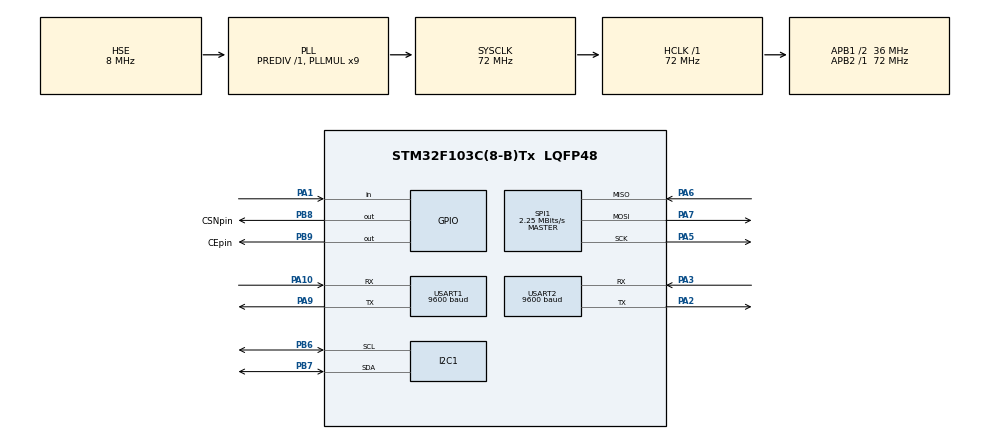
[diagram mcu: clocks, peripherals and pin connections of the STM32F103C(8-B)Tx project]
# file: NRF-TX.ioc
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Dma.Request0=USART2_RX
Dma.Request1=USART1_RX
Dma.USART1_RX.1.Direction=DMA_PERIPH_TO_MEMORY
Dma.USART1_RX.1.Instance=DMA1_Channel5
Dma.USART1_RX.1.MemDataAlignment=DMA_MDATAALIGN_BYTE
Dma.USART1_RX.1.MemInc=DMA_MINC_ENABLE
Dma.USART1_RX.1.Mode=DMA_CIRCULAR
Dma.USART1_RX.1.PeriphDataAlignment=DMA_PDATAALIGN_BYTE
Dma.USART1_RX.1.PeriphInc=DMA_PINC_DISABLE
Dma.USART1_RX.1.Priority=DMA_PRIORITY_LOW
Dma.USART2_RX.0.Direction=DMA_PERIPH_TO_MEMORY
Dma.USART2_RX.0.Instance=DMA1_Channel6
Dma.USART2_RX.0.MemDataAlignment=DMA_MDATAALIGN_BYTE
Dma.USART2_RX.0.MemInc=DMA_MINC_ENABLE
Dma.USART2_RX.0.Mode=DMA_CIRCULAR
Dma.USART2_RX.0.PeriphDataAlignment=DMA_PDATAALIGN_BYTE
Dma.USART2_RX.0.PeriphInc=DMA_PINC_DISABLE
Dma.USART2_RX.0.Priority=DMA_PRIORITY_LOW
Mcu.Family=STM32F1
Mcu.Name=STM32F103C(8-B)Tx
Mcu.Package=LQFP48
NVIC.DMA1_Channel5_IRQn=true\:0\:0\:false\:false\:true\:false\:true
NVIC.DMA1_Channel6_IRQn=true\:0\:0\:false\:false\:true\:false\:true
NVIC.PriorityGroup=NVIC_PRIORITYGROUP_4
PA1.Signal=GPIO_Input
PA10.Mode=Asynchronous
PA10.Signal=USART1_RX
PA13.Mode=Serial_Wire
PA13.Signal=SYS_JTMS-SWDIO
PA14.Mode=Serial_Wire
PA14.Signal=SYS_JTCK-SWCLK
PA2.Mode=Asynchronous
PA2.Signal=USART2_TX
PA3.Mode=Asynchronous
PA3.Signal=USART2_RX
PA5.Mode=Full_Duplex_Master
PA5.Signal=SPI1_SCK
PA6.Mode=Full_Duplex_Master
PA6.Signal=SPI1_MISO
PA7.Mode=Full_Duplex_Master
PA7.Signal=SPI1_MOSI
PA9.Mode=Asynchronous
PA9.Signal=USART1_TX
PB6.Mode=I2C
PB6.Signal=I2C1_SCL
PB7.Mode=I2C
PB7.Signal=I2C1_SDA
PB8.GPIO_Label=CSNpin
PB8.Signal=GPIO_Output
PB9.GPIO_Label=CEpin
PB9.Signal=GPIO_Output
PD0-OSC_IN.Mode=HSE-External-Oscillator
PD0-OSC_IN.Signal=RCC_OSC_IN
PD1-OSC_OUT.Mode=HSE-External-Oscillator
PD1-OSC_OUT.Signal=RCC_OSC_OUT
ProjectManager.HeapSize=0x200
ProjectManager.StackSize=0x400
ProjectManager.TargetToolchain=MDK-ARM V5.27
RCC.AHBFreq_Value=72000000
RCC.APB1CLKDivider=RCC_HCLK_DIV2
RCC.APB1Freq_Value=36000000
RCC.APB1TimFreq_Value=72000000
RCC.APB2Freq_Value=72000000
RCC.APB2TimFreq_Value=72000000
RCC.HCLKFreq_Value=72000000
RCC.PLLMUL=RCC_PLL_MUL9
RCC.PLLSourceVirtual=RCC_PLLSOURCE_HSE
RCC.SYSCLKFreq_VALUE=72000000
RCC.SYSCLKSource=RCC_SYSCLKSOURCE_PLLCLK
RCC.USBFreq_Value=72000000
SPI1.BaudRatePrescaler=SPI_BAUDRATEPRESCALER_32
SPI1.CalculateBaudRate=2.25 MBits/s
SPI1.Direction=SPI_DIRECTION_2LINES
SPI1.Mode=SPI_MODE_MASTER
SPI1.VirtualType=VM_MASTER
USART1.BaudRate=9600
USART1.VirtualMode=VM_ASYNC
USART2.BaudRate=9600
USART2.VirtualMode=VM_ASYNC
board=custom

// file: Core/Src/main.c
/* USER CODE BEGIN Header */
/**
  ******************************************************************************
  * @file           : main.c
  * @brief          : Main program body
  ******************************************************************************
  * @attention
  *
  * <h2><center>&copy; Copyright (c) 2021 STMicroelectronics.
  * All rights reserved.</center></h2>
  *
  * This software component is licensed by ST under BSD 3-Clause license,
  * the "License"; You may not use this file except in compliance with the
  * License. You may obtain a copy of the License at:
  *                        opensource.org/licenses/BSD-3-Clause
  *
  ******************************************************************************
  */
/* USER CODE END Header */
#include "main.h"

/* USER CODE BEGIN Includes */
#include "MY_NRF24.h"
#include "stdio.h"
#include <string.h>
#include <stdlib.h>
#include <math.h>

/* USER CODE END Includes */

I2C_HandleTypeDef hi2c1;

SPI_HandleTypeDef hspi1;

UART_HandleTypeDef huart1;
UART_HandleTypeDef huart2;
DMA_HandleTypeDef hdma_usart1_rx;
DMA_HandleTypeDef hdma_usart2_rx;

void SystemClock_Config(void);
static void MX_GPIO_Init(void);
static void MX_DMA_Init(void);
static void MX_SPI1_Init(void);
static void MX_USART2_UART_Init(void);
static void MX_I2C1_Init(void);
static void MX_USART1_UART_Init(void);
/* USER CODE BEGIN PFP */
#define Min_To_Degree  0.01666666667
#define Sec_To_Degree	 0.000277777778
/* USER CODE END PFP */

/* USER CODE BEGIN 0 */
uint64_t TxpipeAddrs = 0x11223344AA;
char myTxData[250];
char AckPayload[32];
char DATA_arduinotostm[200];
char Rx_Data[750];
char Tx1data[750];
char Tx2data[200];
char GPS_Payyload[200];
char GPS_Payyload1[100];
char DRONE_Payyload[30];
char GPS_Tx[32];
char GPS_Tx2[32];

uint8_t Flag=0;
char *ptr;
char *ptr2;

float time, Latitude=0.0, Longitude=0.0;
float time1, Latitude1=0.0, Longitude1=0.0;
float time_n, Latitude_n, Longitude_n;
char time_char[10];
char Latidude_char[10];
char Longitude_char[10];
float anglepitch;
float angleroll;
float temperature;
int throttle;
int escmotor1;
int escmotor2;
int escmotor3;
int escmotor4;
int rx1;
int rx2;
int rx3;
int rx4;
int volt;
char send[32]="luong cao thuan";
int flag=0;
int fixflag;
int satelite;
float meanofsea;
float meanofsea1;
float roundmeofse;
char meanofs[4];

int Hour, Min, Sec;
void HAL_UART_RxCpltCallback(UART_HandleTypeDef *huart)
{
UNUSED(huart);
	if(huart->Instance==USART1)
	{

		 for(int i = 0; i < 750; i++){
				Tx1data[i]=Rx_Data[i];
																}
		ptr=strstr(Tx1data, "GPRMC");
			 for(int i = 0; i < 200; i++){
				GPS_Payyload[i]=*(ptr+i);
																}
			sscanf(GPS_Payyload, "GPRMC,%f, A,%f, N,%f,",&time,&Latitude,&Longitude);
		sscanf(&GPS_Payyload[103], "GPGGA,%f,%f,N,%f,E,%d,%d,%f,%f,",&time1,&Latitude1,&Longitude1,&fixflag,&satelite,&meanofsea1,&meanofsea);

								roundmeofse= roundf(meanofsea * 10) / 10;

							time=time+70000;

					Latitude=Latitude/100;
					Longitude=Longitude/100;
					Latitude_n=(int)(	Latitude)+((int)(Latitude*100)-((int)(Latitude))*100)/60.0 +(Latitude*100.0 -(int)(Latitude*100))/60.0 ;
					Longitude_n=(int)(Longitude)+((int)(Longitude*100)-((int)(Longitude))*100)/60.0 +(Longitude*100.0 -(int)(Longitude*100))/60.0 ;
			//
		sprintf(meanofs,"%f",roundmeofse);

					sprintf(GPS_Tx,"%c %f %f %u ",'G',Longitude_n, Latitude_n, satelite);
						GPS_Tx[31]=' ';
						sprintf(GPS_Tx2,"%f %f ",roundmeofse,time);
						if(Latitude==0 | Longitude==0)
							strcpy(GPS_Tx,"G 106.659278 10.772611");
					//	}
	}
	if(huart->Instance==USART2)
	{
		 for(int i = 0; i < 200; i++){
				Tx2data[i]=DATA_arduinotostm[i];
																}
		 ptr2=strstr(Tx2data,"D");
			for(int i=0;i<29;i++){
				DRONE_Payyload[i]=*(ptr2+i);
			}

			DRONE_Payyload[29]='\n';
		//sscanf(DRONE_Payyload, "DATA %f %f %f %u %u %u %u %u %u %u %u %u %u",&anglepitch,&angleroll,&temperature,&throttle,&escmotor1,&escmotor2,&escmotor3,&escmotor4,&rx1, &rx2,&rx3,&rx4,&volt);

	}

}

/* USER CODE END 0 */

int main(void)
{

  /* MCU Configuration--------------------------------------------------------*/

  /* Reset of all peripherals, Initializes the Flash interface and the Systick. */
  HAL_Init();

  /* Configure the system clock */
  SystemClock_Config();

  /* Initialize all configured peripherals */
  MX_GPIO_Init();
  MX_DMA_Init();
  MX_SPI1_Init();
  MX_USART2_UART_Init();
  MX_I2C1_Init();
  MX_USART1_UART_Init();
  /* USER CODE BEGIN 2 */
	NRF24_begin(GPIOB, CSNpin_Pin, GPIO_PIN_9, hspi1);
	//NRF24_begin(GPIOB, CSNpin_Pin, CEpin_Pin, hspi1);
	nrf24_DebugUART_Init(huart2);

	printRadioSettings();//for showing default setting of NRF

	//**** TRANSMIT - ACK ****//

	NRF24_stopListening();
	NRF24_openWritingPipe(TxpipeAddrs);

	NRF24_setAutoAck(true);
	NRF24_setChannel(52);
	NRF24_setPayloadSize(32);

	NRF24_enableDynamicPayloads();
	NRF24_enableAckPayload();
		HAL_UART_Receive_DMA(&huart1, (uint8_t*)Rx_Data ,sizeof(Rx_Data));
		HAL_UART_Receive_DMA(&huart2, (uint8_t*)DATA_arduinotostm ,sizeof(DATA_arduinotostm));
  /* USER CODE END 2 */

  /* Infinite loop */
  /* USER CODE BEGIN WHILE */
  while (1)
  {

	//	NRF24_write(DRONE_Payyload, 32);
//		HAL_Delay(500);

	//NRF24_write(GPS_Tx2, 32);
	//HAL_Delay(100);

	NRF24_write(GPS_Tx2, 30);
	HAL_Delay(50);

	NRF24_write(GPS_Tx, 32);
	HAL_Delay(50);

			NRF24_write(DRONE_Payyload, 32);
	HAL_Delay(50);

    /* USER CODE END WHILE */

  }
}

void SystemClock_Config(void)
{
  RCC_OscInitTypeDef RCC_OscInitStruct = {0};
  RCC_ClkInitTypeDef RCC_ClkInitStruct = {0};

  /** Initializes the RCC Oscillators according to the specified parameters
  * in the RCC_OscInitTypeDef structure.
  */
  RCC_OscInitStruct.OscillatorType = RCC_OSCILLATORTYPE_HSE;
  RCC_OscInitStruct.HSEState = RCC_HSE_ON;
  RCC_OscInitStruct.HSEPredivValue = RCC_HSE_PREDIV_DIV1;
  RCC_OscInitStruct.HSIState = RCC_HSI_ON;
  RCC_OscInitStruct.PLL.PLLState = RCC_PLL_ON;
  RCC_OscInitStruct.PLL.PLLSource = RCC_PLLSOURCE_HSE;
  RCC_OscInitStruct.PLL.PLLMUL = RCC_PLL_MUL9;
  if (HAL_RCC_OscConfig(&RCC_OscInitStruct) != HAL_OK)
  {
    Error_Handler();
  }
  /** Initializes the CPU, AHB and APB buses clocks
  */
  RCC_ClkInitStruct.ClockType = RCC_CLOCKTYPE_HCLK|RCC_CLOCKTYPE_SYSCLK
                              |RCC_CLOCKTYPE_PCLK1|RCC_CLOCKTYPE_PCLK2;
  RCC_ClkInitStruct.SYSCLKSource = RCC_SYSCLKSOURCE_PLLCLK;
  RCC_ClkInitStruct.AHBCLKDivider = RCC_SYSCLK_DIV1;
  RCC_ClkInitStruct.APB1CLKDivider = RCC_HCLK_DIV2;
  RCC_ClkInitStruct.APB2CLKDivider = RCC_HCLK_DIV1;

  if (HAL_RCC_ClockConfig(&RCC_ClkInitStruct, FLASH_LATENCY_2) != HAL_OK)
  {
    Error_Handler();
  }
}

static void MX_I2C1_Init(void)
{

  hi2c1.Instance = I2C1;
  hi2c1.Init.ClockSpeed = 100000;
  hi2c1.Init.DutyCycle = I2C_DUTYCYCLE_2;
  hi2c1.Init.OwnAddress1 = 0;
  hi2c1.Init.AddressingMode = I2C_ADDRESSINGMODE_7BIT;
  hi2c1.Init.DualAddressMode = I2C_DUALADDRESS_DISABLE;
  hi2c1.Init.OwnAddress2 = 0;
  hi2c1.Init.GeneralCallMode = I2C_GENERALCALL_DISABLE;
  hi2c1.Init.NoStretchMode = I2C_NOSTRETCH_DISABLE;
  if (HAL_I2C_Init(&hi2c1) != HAL_OK)
  {
    Error_Handler();
  }

}

static void MX_SPI1_Init(void)
{

  /* SPI1 parameter configuration*/
  hspi1.Instance = SPI1;
  hspi1.Init.Mode = SPI_MODE_MASTER;
  hspi1.Init.Direction = SPI_DIRECTION_2LINES;
  hspi1.Init.DataSize = SPI_DATASIZE_8BIT;
  hspi1.Init.CLKPolarity = SPI_POLARITY_LOW;
  hspi1.Init.CLKPhase = SPI_PHASE_1EDGE;
  hspi1.Init.NSS = SPI_NSS_SOFT;
  hspi1.Init.BaudRatePrescaler = SPI_BAUDRATEPRESCALER_32;
  hspi1.Init.FirstBit = SPI_FIRSTBIT_MSB;
  hspi1.Init.TIMode = SPI_TIMODE_DISABLE;
  hspi1.Init.CRCCalculation = SPI_CRCCALCULATION_DISABLE;
  hspi1.Init.CRCPolynomial = 10;
  if (HAL_SPI_Init(&hspi1) != HAL_OK)
  {
    Error_Handler();
  }

}

static void MX_USART1_UART_Init(void)
{

  huart1.Instance = USART1;
  huart1.Init.BaudRate = 9600;
  huart1.Init.WordLength = UART_WORDLENGTH_8B;
  huart1.Init.StopBits = UART_STOPBITS_1;
  huart1.Init.Parity = UART_PARITY_NONE;
  huart1.Init.Mode = UART_MODE_TX_RX;
  huart1.Init.HwFlowCtl = UART_HWCONTROL_NONE;
  huart1.Init.OverSampling = UART_OVERSAMPLING_16;
  if (HAL_UART_Init(&huart1) != HAL_OK)
  {
    Error_Handler();
  }

}

static void MX_USART2_UART_Init(void)
{

  huart2.Instance = USART2;
  huart2.Init.BaudRate = 200000;
  huart2.Init.WordLength = UART_WORDLENGTH_8B;
  huart2.Init.StopBits = UART_STOPBITS_1;
  huart2.Init.Parity = UART_PARITY_NONE;
  huart2.Init.Mode = UART_MODE_TX_RX;
  huart2.Init.HwFlowCtl = UART_HWCONTROL_NONE;
  huart2.Init.OverSampling = UART_OVERSAMPLING_16;
  if (HAL_UART_Init(&huart2) != HAL_OK)
  {
    Error_Handler();
  }

}

static void MX_DMA_Init(void)
{

  /* DMA controller clock enable */
  __HAL_RCC_DMA1_CLK_ENABLE();

  /* DMA interrupt init */
  /* DMA1_Channel5_IRQn interrupt configuration */
  HAL_NVIC_SetPriority(DMA1_Channel5_IRQn, 0, 0);
  HAL_NVIC_EnableIRQ(DMA1_Channel5_IRQn);
  /* DMA1_Channel6_IRQn interrupt configuration */
  HAL_NVIC_SetPriority(DMA1_Channel6_IRQn, 0, 0);
  HAL_NVIC_EnableIRQ(DMA1_Channel6_IRQn);

}

static void MX_GPIO_Init(void)
{
  GPIO_InitTypeDef GPIO_InitStruct = {0};

  /* GPIO Ports Clock Enable */
  __HAL_RCC_GPIOD_CLK_ENABLE();
  __HAL_RCC_GPIOA_CLK_ENABLE();
  __HAL_RCC_GPIOB_CLK_ENABLE();

  /*Configure GPIO pin Output Level */
  HAL_GPIO_WritePin(GPIOB, CSNpin_Pin|CEpin_Pin, GPIO_PIN_RESET);

  /*Configure GPIO pin : PA1 */
  GPIO_InitStruct.Pin = GPIO_PIN_1;
  GPIO_InitStruct.Mode = GPIO_MODE_INPUT;
  GPIO_InitStruct.Pull = GPIO_NOPULL;
  HAL_GPIO_Init(GPIOA, &GPIO_InitStruct);

  /*Configure GPIO pins : CSNpin_Pin CEpin_Pin */
  GPIO_InitStruct.Pin = CSNpin_Pin|CEpin_Pin;
  GPIO_InitStruct.Mode = GPIO_MODE_OUTPUT_PP;
  GPIO_InitStruct.Pull = GPIO_NOPULL;
  GPIO_InitStruct.Speed = GPIO_SPEED_FREQ_LOW;
  HAL_GPIO_Init(GPIOB, &GPIO_InitStruct);

}

void Error_Handler(void)
{
}

/************************ (C) COPYRIGHT STMicroelectronics *****END OF FILE****/
